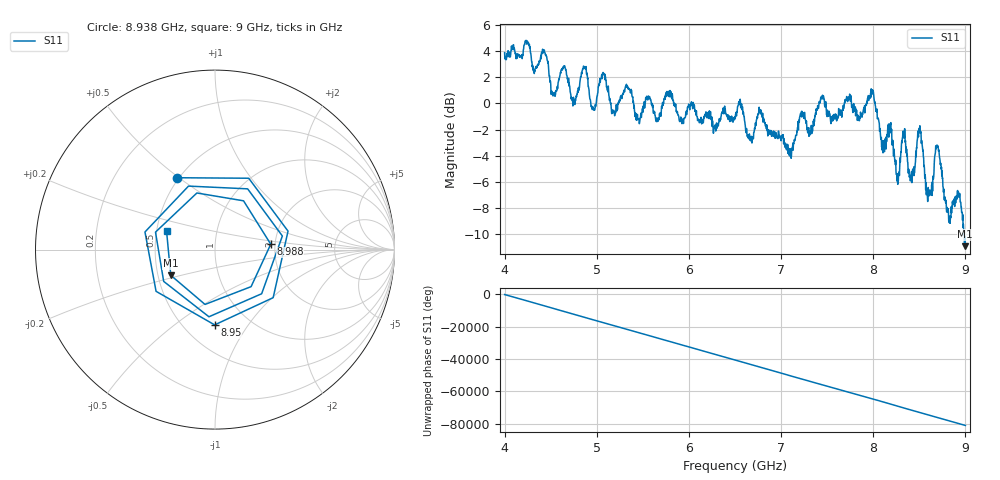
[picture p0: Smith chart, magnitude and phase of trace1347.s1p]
! Created with skrf 1.8.0 (http://scikit-rf.org).
# Hz S RI R 50.0
!freq ReS11 ImS11
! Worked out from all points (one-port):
!   1601 points, 4 GHz to 9 GHz, reference 50 ohm
!   lowest |S11| = -10.9 dB at 8.997 GHz (marker M1), VSWR 1.80, Z = 29.2 - j9.09 ohm
!   |S11| at or under -10 dB: 8.983756 GHz to end of sweep
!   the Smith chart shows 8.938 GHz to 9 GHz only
!   S11 on the Smith chart (normalised r, x): 8.938 GHz: 0.49, +0.49; 8.95 GHz: 0.70, -0.71; 8.988 GHz: 1.90, +0.13; 9 GHz: 0.56, +0.13
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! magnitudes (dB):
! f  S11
! 4 GHz  3.9
! 4.428 GHz  4.0
! 4.528 GHz  0.7
! 4.625 GHz  2.7
! 4.747 GHz  0.5
! 4.859 GHz  2.8
! 4.962 GHz  -0.4
! 5.069 GHz  2.4
! 5.25 GHz  0.2
! 5.875 GHz  -0.6
! 6.5 GHz  -1.1
! 7.125 GHz  -3.3
! 7.231 GHz  -0.8
! 7.75 GHz  0.4
! 7.988 GHz  1.0
! 8.259 GHz  -5.9
! 8.331 GHz  -2.2
! 8.375 GHz  -4.5
! 8.428 GHz  -5.0
! 8.503 GHz  -2.0
! 8.594 GHz  -6.9
! 8.694 GHz  -3.2
! 8.819 GHz  -9.0
! 8.938 GHz  -6.9
! 8.95 GHz  -7.5
! 8.988 GHz  -10.1
! 8.997 GHz  -10.9
! 9 GHz  -10.8
